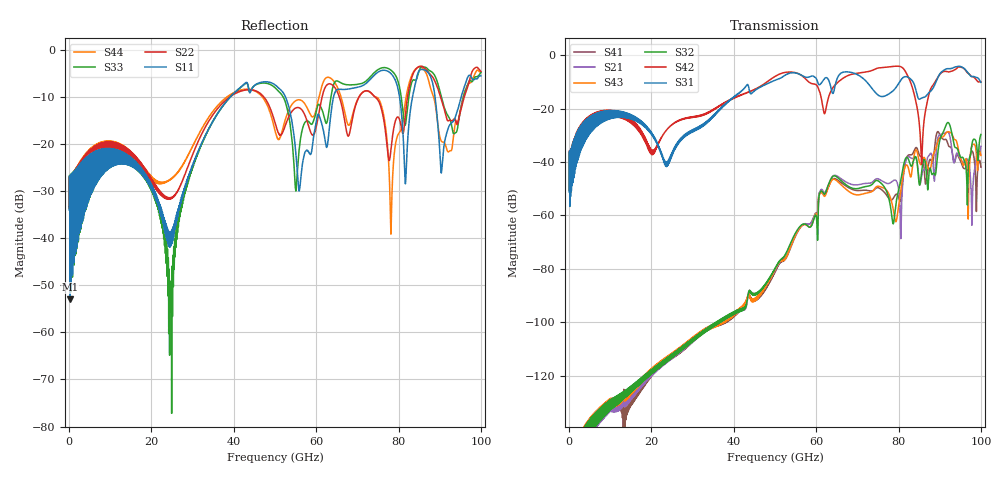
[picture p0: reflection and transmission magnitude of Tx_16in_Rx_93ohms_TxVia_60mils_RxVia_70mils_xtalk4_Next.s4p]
! Info: Touchstone file created by Circ.  Input file=Tx_16in_Rx_93ohms_TxVia_60mils_RxVia_70mils.circ
# Hz S RI R 50
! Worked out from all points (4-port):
!   10000 points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, 10 MHz to 100 GHz, reference 50 ohm
!   strongest paths, dB at 10 MHz, 25.01 GHz, 50.01 GHz, 75.01 GHz, 100 GHz:
!     S31: -51.2, -36.5, -9.4, -14.9, -10.2
!     S42: -50.5, -25.9, -8.0, -4.8, -10.0
!     S32: -195.7, -113.4, -79.9, -47.0, -29.7
!     S43: -159.4, -113.0, -80.2, -49.1, -37.5
!     S21: -196.1, -113.6, -80.5, -46.3, -34.2
!     S41: -161.1, -113.6, -81.1, -49.6, -41.9
!   lowest |S11| = -52.9 dB at 200 MHz (marker M1), VSWR 1.00, Z = 49.8 + j0.127 ohm
!   |S11| at or under -10 dB: start of sweep to 39.14 GHz; 52.56 GHz to 64.21 GHz (11.65 GHz wide, 20 % of centre); 88.87 GHz to 95.21 GHz (6.336 GHz wide, 6.88 % of centre)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
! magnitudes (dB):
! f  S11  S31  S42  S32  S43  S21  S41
! 10 MHz  -34.0  -51.2  -50.5  -195.7  -159.4  -196.1  -161.1
! 200 MHz  -52.9  -45.4  -45.5  -169.8  -170.1  -171.9  -170.1
! 24.66 GHz  -38.6  -39.0  -26.4  -112.9  -112.4  -113.6  -113.3
! 42.55 GHz  -7.2  -12.4  -14.4  -94.6  -93.1  -95.1  -93.4
! 78.18 GHz  -5.0  -14.0  -4.3  -58.0  -54.1  -47.6  -54.3
! 85.58 GHz  -4.1  -16.1  -40.7  -44.1  -40.9  -45.4  -37.8
! 100 GHz  -5.5  -10.2  -10.0  -29.7  -37.5  -34.2  -41.9
